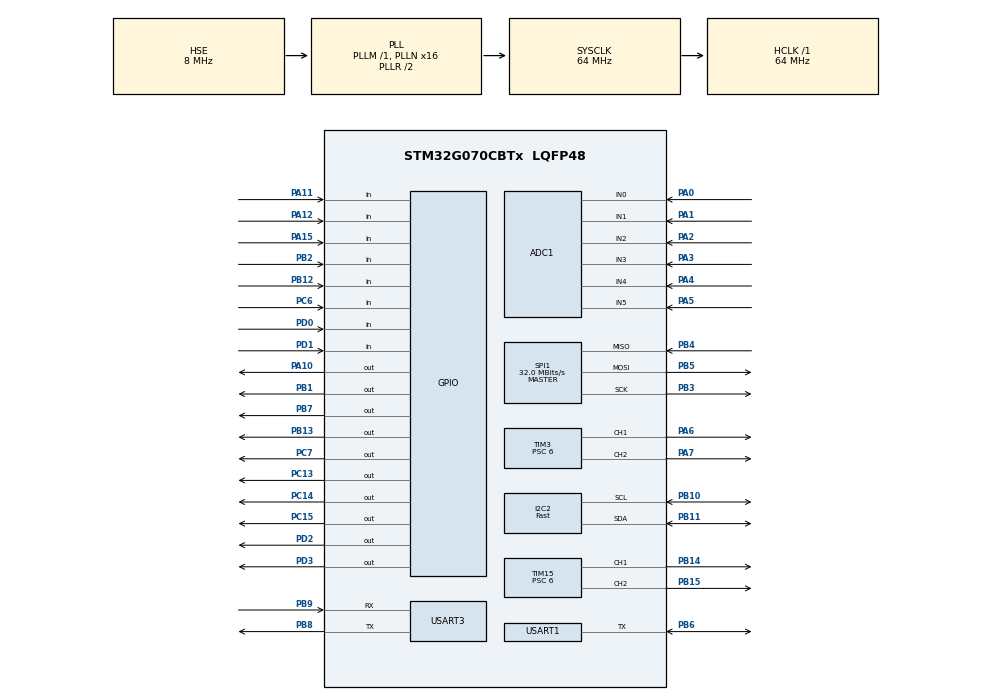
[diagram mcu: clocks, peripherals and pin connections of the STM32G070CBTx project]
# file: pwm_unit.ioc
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ADC1.Channel-0\#ChannelRegularConversion=ADC_CHANNEL_0
ADC1.Channel-1\#ChannelRegularConversion=ADC_CHANNEL_1
ADC1.Channel-2\#ChannelRegularConversion=ADC_CHANNEL_2
ADC1.Channel-3\#ChannelRegularConversion=ADC_CHANNEL_VREFINT
ADC1.Channel-4\#ChannelRegularConversion=ADC_CHANNEL_TEMPSENSOR
ADC1.ChannelTS=ADC_CHANNEL_TEMPSENSOR
ADC1.ChannelVREF=ADC_CHANNEL_VREFINT
ADC1.ClockPrescaler=ADC_CLOCK_ASYNC_DIV2
ADC1.ContinuousConvMode=ENABLE
ADC1.EOCSelection=ADC_EOC_SEQ_CONV
ADC1.NbrOfConversion=5
ADC1.NbrOfConversionFlag=1
ADC1.Overrun=ADC_OVR_DATA_OVERWRITTEN
ADC1.Rank-0\#ChannelRegularConversion=1
ADC1.Rank-1\#ChannelRegularConversion=2
ADC1.Rank-2\#ChannelRegularConversion=3
ADC1.Rank-3\#ChannelRegularConversion=4
ADC1.Rank-4\#ChannelRegularConversion=5
ADC1.SamplingTime-0\#ChannelRegularConversion=ADC_SAMPLINGTIME_COMMON_1
ADC1.SamplingTime-1\#ChannelRegularConversion=ADC_SAMPLINGTIME_COMMON_1
ADC1.SamplingTime-2\#ChannelRegularConversion=ADC_SAMPLINGTIME_COMMON_1
ADC1.SamplingTime-3\#ChannelRegularConversion=ADC_SAMPLINGTIME_COMMON_2
ADC1.SamplingTime-4\#ChannelRegularConversion=ADC_SAMPLINGTIME_COMMON_2
ADC1.SamplingTimeCommon1=ADC_SAMPLETIME_12CYCLES_5
ADC1.SamplingTimeCommon2=ADC_SAMPLETIME_19CYCLES_5
ADC1.SelectedChannel=ADC_CHANNEL_0|ADC_CHANNEL_1|ADC_CHANNEL_2|ADC_CHANNEL_3|ADC_CHANNEL_4|ADC_CHANNEL_5|ADC_CHANNEL_TEMPSENSOR|ADC_CHANNEL_VREFINT
ADC1.master=1
Dma.ADC1.0.Direction=DMA_PERIPH_TO_MEMORY
Dma.ADC1.0.EventEnable=DISABLE
Dma.ADC1.0.Instance=DMA1_Channel1
Dma.ADC1.0.MemDataAlignment=DMA_MDATAALIGN_WORD
Dma.ADC1.0.MemInc=DMA_MINC_ENABLE
Dma.ADC1.0.Mode=DMA_CIRCULAR
Dma.ADC1.0.PeriphDataAlignment=DMA_PDATAALIGN_WORD
Dma.ADC1.0.PeriphInc=DMA_PINC_DISABLE
Dma.ADC1.0.Polarity=HAL_DMAMUX_REQ_GEN_RISING
Dma.ADC1.0.Priority=DMA_PRIORITY_HIGH
Dma.ADC1.0.RequestNumber=1
Dma.ADC1.0.SignalID=NONE
Dma.ADC1.0.SyncEnable=DISABLE
Dma.ADC1.0.SyncPolarity=HAL_DMAMUX_SYNC_NO_EVENT
Dma.ADC1.0.SyncRequestNumber=1
Dma.ADC1.0.SyncSignalID=NONE
Dma.Request0=ADC1
Dma.Request1=USART1_RX
Dma.Request2=USART1_TX
Dma.USART1_RX.1.Direction=DMA_PERIPH_TO_MEMORY
Dma.USART1_RX.1.EventEnable=DISABLE
Dma.USART1_RX.1.Instance=DMA1_Channel2
Dma.USART1_RX.1.MemDataAlignment=DMA_MDATAALIGN_BYTE
Dma.USART1_RX.1.MemInc=DMA_MINC_ENABLE
Dma.USART1_RX.1.Mode=DMA_NORMAL
Dma.USART1_RX.1.PeriphDataAlignment=DMA_PDATAALIGN_BYTE
Dma.USART1_RX.1.PeriphInc=DMA_PINC_DISABLE
Dma.USART1_RX.1.Polarity=HAL_DMAMUX_REQ_GEN_RISING
Dma.USART1_RX.1.Priority=DMA_PRIORITY_LOW
Dma.USART1_RX.1.RequestNumber=1
Dma.USART1_RX.1.SignalID=NONE
Dma.USART1_RX.1.SyncEnable=DISABLE
Dma.USART1_RX.1.SyncPolarity=HAL_DMAMUX_SYNC_NO_EVENT
Dma.USART1_RX.1.SyncRequestNumber=1
Dma.USART1_RX.1.SyncSignalID=NONE
Dma.USART1_TX.2.Direction=DMA_MEMORY_TO_PERIPH
Dma.USART1_TX.2.EventEnable=DISABLE
Dma.USART1_TX.2.Instance=DMA1_Channel3
Dma.USART1_TX.2.MemDataAlignment=DMA_MDATAALIGN_BYTE
Dma.USART1_TX.2.MemInc=DMA_MINC_ENABLE
Dma.USART1_TX.2.Mode=DMA_NORMAL
Dma.USART1_TX.2.PeriphDataAlignment=DMA_PDATAALIGN_BYTE
Dma.USART1_TX.2.PeriphInc=DMA_PINC_DISABLE
Dma.USART1_TX.2.Polarity=HAL_DMAMUX_REQ_GEN_RISING
Dma.USART1_TX.2.Priority=DMA_PRIORITY_LOW
Dma.USART1_TX.2.RequestNumber=1
Dma.USART1_TX.2.SignalID=NONE
Dma.USART1_TX.2.SyncEnable=DISABLE
Dma.USART1_TX.2.SyncPolarity=HAL_DMAMUX_SYNC_NO_EVENT
Dma.USART1_TX.2.SyncRequestNumber=1
Dma.USART1_TX.2.SyncSignalID=NONE
I2C2.I2C_Speed_Mode=I2C_Fast
I2C2.Timing=0x00602173
Mcu.Family=STM32G0
Mcu.Name=STM32G070CBTx
Mcu.Package=LQFP48
NVIC.ADC1_IRQn=true\:0\:0\:false\:false\:true\:true\:true\:true
NVIC.DMA1_Channel1_IRQn=true\:0\:0\:false\:false\:true\:false\:true\:true
NVIC.DMA1_Channel2_3_IRQn=true\:0\:0\:false\:false\:true\:false\:true\:true
NVIC.I2C2_IRQn=true\:0\:0\:false\:false\:true\:true\:true\:true
NVIC.RCC_IRQn=true\:0\:0\:false\:false\:true\:true\:false\:true
NVIC.SPI1_IRQn=true\:0\:0\:false\:false\:true\:true\:true\:true
NVIC.TIM16_IRQn=true\:0\:0\:false\:false\:true\:true\:true\:true
NVIC.TIM17_IRQn=true\:0\:0\:false\:false\:true\:true\:true\:true
NVIC.TIM3_IRQn=true\:0\:0\:false\:false\:true\:true\:true\:true
NVIC.USART1_IRQn=true\:0\:0\:false\:false\:true\:true\:true\:true
NVIC.USART3_4_IRQn=true\:0\:0\:false\:false\:true\:true\:true\:true
PA0.Mode=IN0
PA0.Signal=ADC1_IN0
PA1.Mode=IN1
PA1.Signal=ADC1_IN1
PA10.Signal=GPIO_Output
PA11\ [PA9].Signal=GPIO_Input
PA12\ [PA10].Signal=GPIO_Input
PA13.Mode=Serial_Wire
PA13.Signal=SYS_SWDIO
PA14-BOOT0.Mode=Serial_Wire
PA14-BOOT0.Signal=SYS_SWCLK
PA15.Signal=GPIO_Input
PA2.Mode=IN2
PA2.Signal=ADC1_IN2
PA3.Mode=IN3
PA3.Signal=ADC1_IN3
PA4.Mode=IN4
PA4.Signal=ADC1_IN4
PA5.Mode=IN5
PA5.Signal=ADC1_IN5
PA6.Signal=S_TIM3_CH1
PA7.Signal=S_TIM3_CH2
PB1.Signal=GPIO_Output
PB10.Mode=I2C
PB10.Signal=I2C2_SCL
PB11.Mode=I2C
PB11.Signal=I2C2_SDA
PB12.Signal=GPIO_Input
PB13.Signal=GPIO_Output
PB14.Signal=S_TIM15_CH1
PB15.Signal=S_TIM15_CH2
PB2.Signal=GPIO_Input
PB3.Mode=Full_Duplex_Master
PB3.Signal=SPI1_SCK
PB4.Mode=Full_Duplex_Master
PB4.Signal=SPI1_MISO
PB5.Mode=Full_Duplex_Master
PB5.Signal=SPI1_MOSI
PB6.Mode=Half_duplex(single_wire_mode)
PB6.Signal=USART1_TX
PB7.Signal=GPIO_Output
PB8.Mode=Asynchronous
PB8.Signal=USART3_TX
PB9.Mode=Asynchronous
PB9.Signal=USART3_RX
PC13.Signal=GPIO_Output
PC14-OSC32_IN\ (PC14).Signal=GPIO_Output
PC15-OSC32_OUT\ (PC15).Signal=GPIO_Output
PC6.Signal=GPIO_Input
PC7.Signal=GPIO_Output
PD0.Signal=GPIO_Input
PD1.Signal=GPIO_Input
PD2.Signal=GPIO_Output
PD3.Signal=GPIO_Output
PF0-OSC_IN\ (PF0).Mode=HSE-External-Oscillator
PF0-OSC_IN\ (PF0).Signal=RCC_OSC_IN
PF1-OSC_OUT\ (PF1).Mode=HSE-External-Oscillator
PF1-OSC_OUT\ (PF1).Signal=RCC_OSC_OUT
ProjectManager.HeapSize=0x200
ProjectManager.StackSize=0x400
ProjectManager.TargetToolchain=STM32CubeIDE
RCC.ADCFreq_Value=64000000
RCC.AHBFreq_Value=64000000
RCC.CortexFreq_Value=64000000
RCC.EXTERNAL_CLOCK_VALUE=48000
RCC.HCLKFreq_Value=64000000
RCC.HSE_VALUE=8000000
RCC.HSI_VALUE=16000000
RCC.LSE_VALUE=32768
RCC.PLLN=16
RCC.PLLSourceVirtual=RCC_PLLSOURCE_HSE
RCC.RCC_MCODiv=RCC_MCODIV_16
RCC.SYSCLKFreq_VALUE=64000000
RCC.SYSCLKSource=RCC_SYSCLKSOURCE_PLLCLK
RCC.USART1CLockSelection=RCC_USART1CLKSOURCE_SYSCLK
RCC.VCOOutputFreq_Value=128000000
SH.S_TIM15_CH1.0=TIM15_CH1,PWM Generation1 CH1
SH.S_TIM15_CH2.0=TIM15_CH2,PWM Generation2 CH2
SH.S_TIM3_CH1.0=TIM3_CH1,PWM Generation1 CH1
SH.S_TIM3_CH2.0=TIM3_CH2,PWM Generation2 CH2
SPI1.CalculateBaudRate=32.0 MBits/s
SPI1.DataSize=SPI_DATASIZE_8BIT
SPI1.Direction=SPI_DIRECTION_2LINES
SPI1.Mode=SPI_MODE_MASTER
SPI1.VirtualType=VM_MASTER
TIM15.AutoReloadPreload=TIM_AUTORELOAD_PRELOAD_ENABLE
TIM15.Channel-PWM\ Generation1\ CH1=TIM_CHANNEL_1
TIM15.Channel-PWM\ Generation2\ CH2=TIM_CHANNEL_2
TIM15.Period=100
TIM15.Prescaler=6
TIM15.Pulse-PWM\ Generation1\ CH1=50
TIM15.Pulse-PWM\ Generation2\ CH2=50
TIM16.Period=2000
TIM16.Prescaler=6399
TIM17.Period=100
TIM17.Prescaler=63
TIM3.AutoReloadPreload=TIM_AUTORELOAD_PRELOAD_ENABLE
TIM3.Channel-PWM\ Generation1\ CH1=TIM_CHANNEL_1
TIM3.Channel-PWM\ Generation2\ CH2=TIM_CHANNEL_2
TIM3.OCPolarity_1=TIM_OCPOLARITY_LOW
TIM3.OCPolarity_2=TIM_OCPOLARITY_LOW
TIM3.Period=100
TIM3.Prescaler=6
TIM3.Pulse-PWM\ Generation1\ CH1=50
TIM3.Pulse-PWM\ Generation2\ CH2=50
USART1.VirtualMode-Half_duplex(single_wire_mode)=VM_ASYNC
USART3.VirtualMode-Asynchronous=VM_ASYNC
VP_ADC1_TempSens_Input.Mode=IN-TempSens
VP_ADC1_Vref_Input.Mode=IN-Vrefint
VP_TIM16_VS_ClockSourceINT.Mode=Enable_Timer
VP_TIM17_VS_ClockSourceINT.Mode=Enable_Timer
board=custom

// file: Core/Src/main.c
/* USER CODE BEGIN Header */
/**
  ******************************************************************************
  * @file           : main.c
  * @brief          : Main program body
  ******************************************************************************
  * @attention
  *
  * Copyright (c) 2022 STMicroelectronics.
  * All rights reserved.
  *
  * This software is licensed under terms that can be found in the LICENSE file
  * in the root directory of this software component.
  * If no LICENSE file comes with this software, it is provided AS-IS.
  *
  ******************************************************************************
  */
/* USER CODE END Header */
#include "main.h"
#include "adc.h"
#include "dma.h"
#include "i2c.h"
#include "spi.h"
#include "tim.h"
#include "usart.h"
#include "gpio.h"

/* USER CODE BEGIN PD */

#define COEFECIENT	0.0008056640625f
#define OA_COEFICIENT	10.0f

/* USER CODE END PD */

/* USER CODE BEGIN PV */
extern DMA_HandleTypeDef hdma_adc1;
HAL_StatusTypeDef ADC_Status = HAL_ERROR;
uint32_t ADC_Value[5] = { 0 };
uint8_t ADC_CalibrationValue = 0;

float VOLTAGE_Result = 0;

HAL_StatusTypeDef OW_Status = HAL_ERROR;

/* USER CODE END PV */

void SystemClock_Config(void);

int main(void)
{

  /* MCU Configuration--------------------------------------------------------*/

  /* Reset of all peripherals, Initializes the Flash interface and the Systick. */
  HAL_Init();

  /* Configure the system clock */
  SystemClock_Config();

  /* Initialize all configured peripherals */
  MX_GPIO_Init();
  MX_DMA_Init();
  MX_ADC1_Init();
  MX_I2C2_Init();
  MX_SPI1_Init();
  MX_TIM3_Init();
  MX_TIM15_Init();
  MX_USART1_UART_Init();
  MX_USART3_UART_Init();
  MX_TIM17_Init();
  MX_TIM16_Init();
  /* USER CODE BEGIN 2 */

  HAL_TIM_PWM_Start(&htim3, TIM_CHANNEL_1);
  HAL_TIM_PWM_Start(&htim3, TIM_CHANNEL_2);

  HAL_TIM_PWM_Start(&htim15, TIM_CHANNEL_1);
  HAL_TIM_PWM_Start(&htim15, TIM_CHANNEL_2);

  HAL_TIM_Base_Start_IT(&htim16);
  HAL_TIM_Base_Start_IT(&htim17);

  TIM3->CCR1 = 90;
  TIM3->CCR2 = 60;

  TIM15->CCR1 = 99;
  TIM15->CCR2 = 90;

  ADC_Status = HAL_ADCEx_Calibration_Start(&hadc1);
  ADC_CalibrationValue = HAL_ADCEx_Calibration_GetValue(&hadc1);

  /* USER CODE END 2 */

  /* Infinite loop */
  /* USER CODE BEGIN WHILE */
	while (1)
	{
		HAL_ADC_Start_DMA(&hadc1, ADC_Value, 5);
		VOLTAGE_Result = (float) (COEFECIENT * (ADC_Value[0] - 10) * OA_COEFICIENT);
		HAL_Delay(100);

    /* USER CODE END WHILE */

	}
}

void SystemClock_Config(void)
{
  RCC_OscInitTypeDef RCC_OscInitStruct = {0};
  RCC_ClkInitTypeDef RCC_ClkInitStruct = {0};

  /** Configure the main internal regulator output voltage
  */
  HAL_PWREx_ControlVoltageScaling(PWR_REGULATOR_VOLTAGE_SCALE1);

  /** Initializes the RCC Oscillators according to the specified parameters
  * in the RCC_OscInitTypeDef structure.
  */
  RCC_OscInitStruct.OscillatorType = RCC_OSCILLATORTYPE_HSE;
  RCC_OscInitStruct.HSEState = RCC_HSE_ON;
  RCC_OscInitStruct.PLL.PLLState = RCC_PLL_ON;
  RCC_OscInitStruct.PLL.PLLSource = RCC_PLLSOURCE_HSE;
  RCC_OscInitStruct.PLL.PLLM = RCC_PLLM_DIV1;
  RCC_OscInitStruct.PLL.PLLN = 16;
  RCC_OscInitStruct.PLL.PLLP = RCC_PLLP_DIV2;
  RCC_OscInitStruct.PLL.PLLR = RCC_PLLR_DIV2;
  if (HAL_RCC_OscConfig(&RCC_OscInitStruct) != HAL_OK)
  {
    Error_Handler();
  }

  /** Initializes the CPU, AHB and APB buses clocks
  */
  RCC_ClkInitStruct.ClockType = RCC_CLOCKTYPE_HCLK|RCC_CLOCKTYPE_SYSCLK
                              |RCC_CLOCKTYPE_PCLK1;
  RCC_ClkInitStruct.SYSCLKSource = RCC_SYSCLKSOURCE_PLLCLK;
  RCC_ClkInitStruct.AHBCLKDivider = RCC_SYSCLK_DIV1;
  RCC_ClkInitStruct.APB1CLKDivider = RCC_HCLK_DIV1;

  if (HAL_RCC_ClockConfig(&RCC_ClkInitStruct, FLASH_LATENCY_2) != HAL_OK)
  {
    Error_Handler();
  }
}

/* USER CODE BEGIN 4 */
void HAL_TIM_PeriodElapsedCallback(TIM_HandleTypeDef *htim)
{
	/*if(htim->Instance == TIM17)
	{
		GPIOB->ODR ^= GPIO_PIN_13;
	}*/
	if(htim->Instance == TIM16)
	{
		GPIOC->ODR ^= GPIO_PIN_15;
	}
}

void HAL_TIM_PWM_PulseFinishedCallback(TIM_HandleTypeDef *htim)
{
	if(htim->Instance == TIM3)
	{
		GPIOB->ODR ^= GPIO_PIN_13;
	}
}

/* USER CODE END 4 */

void Error_Handler(void)
{
  __disable_irq();
  while (1)
  {
  }
}
